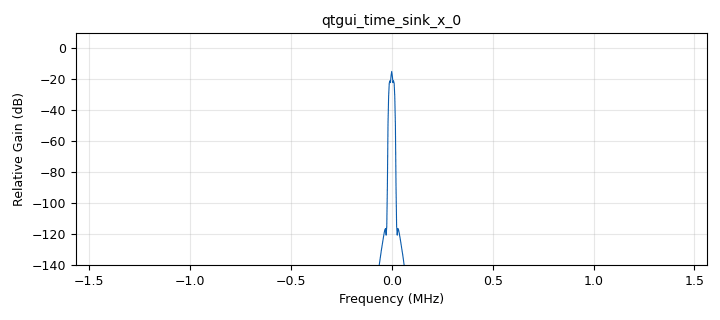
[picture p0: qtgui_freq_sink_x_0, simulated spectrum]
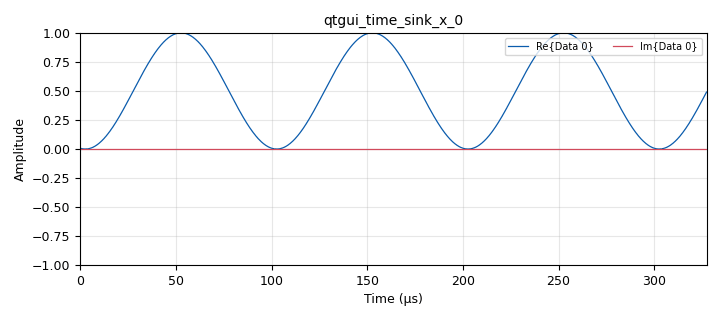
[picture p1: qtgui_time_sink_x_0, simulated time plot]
options:
  parameters:
    author: Juan Vesga, Sebastian Solano
    generate_options: qt_gui
    id: Prueba00
    output_language: python
    title: Not titled yet
  states: {}

blocks:
- name: A
  id: variable_qtgui_range
  parameters:
    label: Amplitud Señal
    start: '0'
    step: '0.1'
    stop: '4'
    value: '1'
  states: {}
- name: Ac
  id: variable_qtgui_range
  parameters:
    start: '0'
    step: '1e-2'
    stop: '0.5'
    value: '0.5'
  states: {}
- name: GTX
  id: variable_qtgui_range
  parameters:
    label: Ganancia transmisor
    start: '0'
    step: '0.5'
    stop: '30'
    value: '0.5'
  states: {}
- name: 'No'
  id: variable_qtgui_range
  parameters:
    label: Amplitud Ruido
    start: '0'
    step: '1e-6'
    stop: '1e-1'
    value: '1e-4'
  states: {}
- name: fc
  id: variable_qtgui_range
  parameters:
    label: Frecuencia portadora
    start: '50000000'
    step: '100000'
    stop: 1e9
    value: '400000000'
  states: {}
- name: fcut
  id: variable_qtgui_range
  parameters:
    start: '0'
    step: '100'
    stop: samp_rate/2
    value: samp_rate/2
  states: {}
- name: fm
  id: variable_qtgui_range
  parameters:
    label: Frecuencia Señal
    start: '1000'
    step: '1000'
    stop: '1000000'
    value: '10000'
  states: {}
- name: ka
  id: variable_qtgui_range
  parameters:
    start: '0'
    step: '0.1'
    stop: '4'
    value: '1'
  states: {}
- name: samp_rate
  id: variable
  parameters:
    value: 25e6/8
  states: {}
- name: t_band
  id: variable_qtgui_range
  parameters:
    label: Banda de transicion
    start: '0'
    step: '100'
    stop: samp_rate/20
    value: samp_rate/20
  states: {}
- name: analog_noise_source_x_0
  id: analog_noise_source_x
  parameters:
    amp: 'No'
    noise_type: analog.GR_GAUSSIAN
    seed: '0'
    type: float
  states: {state: disabled}
- name: analog_sig_source_x_0
  id: analog_sig_source_x
  parameters:
    amp: A
    freq: fm
    offset: '0'
    phase: '0'
    samp_rate: samp_rate
    type: float
    waveform: analog.GR_SIN_WAVE
  states: {}
- name: blocks_add_const_vxx_0
  id: blocks_add_const_vxx
  parameters:
    const: '1'
    type: float
  states: {}
- name: blocks_add_xx_0
  id: blocks_add_xx
  parameters:
    type: float
  states: {state: disabled}
- name: blocks_float_to_complex_0
  id: blocks_float_to_complex
  parameters: {}
  states: {state: disabled}
- name: blocks_float_to_complex_0_0
  id: blocks_float_to_complex
  parameters: {}
  states: {}
- name: blocks_multiply_const_vxx_0
  id: blocks_multiply_const_vxx
  parameters:
    const: ka
    type: float
  states: {}
- name: blocks_multiply_const_vxx_1
  id: blocks_multiply_const_vxx
  parameters:
    const: Ac
    type: complex
  states: {}
- name: blocks_null_source_0
  id: blocks_null_source
  parameters:
    type: float
  states: {}
- name: blocks_throttle2_0
  id: blocks_throttle2
  parameters:
    samples_per_second: samp_rate
    type: float
  states: {}
- name: low_pass_filter_0
  id: low_pass_filter
  parameters:
    cutoff_freq: fcut
    decim: '1'
    gain: '1'
    samp_rate: samp_rate
    type: fir_filter_fff
    width: t_band
    win: window.WIN_HAMMING
  states: {state: disabled}
- name: pad_sink_0
  id: pad_sink
  parameters:
    label: s(t)
    type: complex
  states: {state: disabled}
- name: pad_source_0
  id: pad_source
  parameters:
    label: m(t)
    type: float
  states: {state: disabled}
- name: qtgui_freq_sink_x_0
  id: qtgui_freq_sink_x
  parameters:
    bw: samp_rate
    fc: '0'
    fftsize: '1024'
    name: qtgui_time_sink_x_0
    type: complex
  states: {}
- name: qtgui_time_sink_x_0
  id: qtgui_time_sink_x
  parameters:
    name: qtgui_time_sink_x_0
    size: '1024'
    srate: samp_rate
    type: complex
  states: {}
- name: uhd_usrp_sink_0
  id: uhd_usrp_sink
  parameters:
    ant0: '"TX/RX"'
    center_freq0: fc
    gain0: GTX
    samp_rate: samp_rate
    sync: pc_clock
    type: fc32
  states: {}

connections:
- [analog_noise_source_x_0, '0', blocks_add_xx_0, '1']
- [analog_sig_source_x_0, '0', blocks_throttle2_0, '0']
- [blocks_add_const_vxx_0, '0', blocks_float_to_complex_0_0, '0']
- [blocks_add_xx_0, '0', low_pass_filter_0, '0']
- [blocks_float_to_complex_0, '0', uhd_usrp_sink_0, '0']
- [blocks_float_to_complex_0_0, '0', blocks_multiply_const_vxx_1, '0']
- [blocks_multiply_const_vxx_0, '0', blocks_add_const_vxx_0, '0']
- [blocks_multiply_const_vxx_1, '0', pad_sink_0, '0']
- [blocks_multiply_const_vxx_1, '0', qtgui_freq_sink_x_0, '0']
- [blocks_multiply_const_vxx_1, '0', qtgui_time_sink_x_0, '0']
- [blocks_multiply_const_vxx_1, '0', uhd_usrp_sink_0, '0']
- [blocks_null_source_0, '0', blocks_float_to_complex_0_0, '1']
- [blocks_throttle2_0, '0', blocks_add_xx_0, '0']
- [blocks_throttle2_0, '0', blocks_multiply_const_vxx_0, '0']
- [low_pass_filter_0, '0', blocks_float_to_complex_0, '0']
- [low_pass_filter_0, '0', qtgui_freq_sink_x_0, '0']
- [low_pass_filter_0, '0', qtgui_time_sink_x_0, '0']
- [pad_source_0, '0', blocks_multiply_const_vxx_0, '0']

metadata:
  file_format: 1
  grc_version: v3.11.0.0git-810-g1ecb8565
